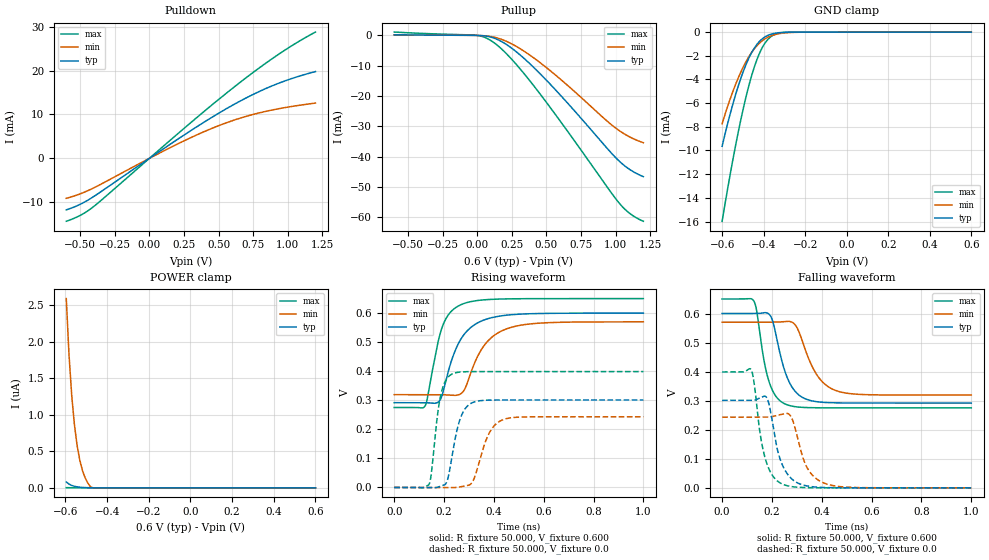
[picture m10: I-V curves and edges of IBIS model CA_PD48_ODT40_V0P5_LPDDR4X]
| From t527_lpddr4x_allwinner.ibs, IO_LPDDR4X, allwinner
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|   Model CA_PD48_ODT40_V0P5_LPDDR4X
[Model] CA_PD48_ODT40_V0P5_LPDDR4X
Model_type 3-state
Polarity   Non-Inverting
Enable   Active-Low
C_comp   1.436pF   1.391pF   1.494pF
C_comp_pulldown   0.755pF   0.726pF   0.791pF
[Temperature Range]   25.000   0.125k   -40.000
[Voltage Range]   0.600V   0.570V   0.650V
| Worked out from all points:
|   slope of the pulldown table from 0 to 0.09 V, typ, clamps not added: 46.6 ohm
|   slope of the pullup table from 0 to 0.09 V, typ, clamps not added: 198 ohm
|   GND clamp passes 1 mA (typ) near -0.43 V on its own axis
|   rising waveform, R_fixture 50.000, V_fixture 0.600: 20-80 % time 89ps typ, 98.6ps min, 61.9ps max; typ from 0.292 V to 0.6 V
|   rising waveform, R_fixture 50.000, V_fixture 0.0: 20-80 % time 44.2ps typ, 58.2ps min, 34ps max; typ from 0 V to 0.301 V
|   falling waveform, R_fixture 50.000, V_fixture 0.600: 20-80 % time 62.6ps typ, 81.3ps min, 50ps max; typ from 0.6 V to 0.292 V
|   falling waveform, R_fixture 50.000, V_fixture 0.0: 20-80 % time 53.5ps typ, 61ps min, 46.4ps max; typ from 0.301 V to 0 V
[Pulldown]
|Voltage   I(typ)   I(min)   I(max)
-600mV    -11.73mA   -9.096mA   -14.33mA
-486mV    -10.26mA   -7.919mA   -12.76mA
-391mV    -8.468mA   -6.555mA   -10.7mA
179mV     3.821mA    2.89mA     4.894mA
369mV     7.727mA    5.719mA    9.993mA
521mV     10.66mA    7.695mA    13.95mA
692mV     13.66mA    9.506mA    18.2mA
863mV     16.21mA    10.86mA    22.18mA
1.034V    18.24mA    11.86mA    25.76mA
1.2V      19.78mA    12.6mA     28.79mA
[Pullup]
|Voltage   I(typ)   I(min)   I(max)
-600mV    213.8uA    167.3uA    1.124mA
3mV       -3.94uA    -3.607uA   -19.46uA
60mV      -193.1uA   -141.5uA   -752.2uA
136mV     -1.136mA   -729.4uA   -2.911mA
193mV     -2.48mA    -1.6mA     -5.221mA
269mV     -4.918mA   -3.281mA   -8.89mA
440mV     -12mA      -8.5mA     -18.5mA
630mV     -21.19mA   -15.6mA    -30.21mA
934mV     -37.05mA   -28.12mA   -49.75mA
1.029V    -41.65mA   -31.53mA   -55.56mA
1.105V    -44.37mA   -33.6mA    -58.88mA
1.2V      -46.62mA   -35.42mA   -61.36mA
[GND_clamp]
|Voltage   I(typ)   I(min)   I(max)
-600mV    -9.644mA   -7.752mA   -15.98mA
-561mV    -6.898mA   -5.638mA   -12mA
-535mV    -5.279mA   -4.412mA   -9.563mA
-496mV    -3.229mA   -2.867mA   -6.297mA
-470mV    -2.153mA   -2.045mA   -4.442mA
-444mV    -1.329mA   -1.392mA   -2.9mA
-418mV    -752.5uA   -901.8uA   -1.711mA
-392mV    -391.1uA   -557uA     -889.9uA
-366mV    -189.2uA   -330uA     -401.7uA
-327mV    -58.41uA   -142.5uA   -97.15uA
-275mV    -11.42uA   -44.79uA   -11.99uA
600mV     -16.35nA   -581.7nA   -535.2pA
[POWER_clamp]
|Voltage   I(typ)   I(min)   I(max)
-596mV    80.24nA    2.593uA    2.718nA
-583mV    51.63nA    1.826uA    1.847nA
-570mV    33.07nA    1.268uA    1.343nA
-557mV    21.08nA    866.5nA    1.05nA
-544mV    13.38nA    579.1nA    877.6pA
-531mV    8.477nA    375.9nA    774.8pA
-518mV    5.384nA    233.6nA    709.6pA
-505mV    3.415nA    134.1nA    663.1pA
-492mV    2.097nA    63.17nA    625.9pA
-479mV    1.133nA    10.39nA    594.1pA
-466mV    364.7pA    0A         566pA
600mV     0A         0A         0A
[Ramp]
| variable   typ   min   max
dV/dt_r   0.181/44.360p   0.146/58.300p   0.239/34.200p
dV/dt_f   0.185/62.731p   0.150/81.427p   0.225/50.020p
R_load = 50.000
[Rising Waveform]
R_fixture= 50.000
V_fixture= 0.600
V_fixture_min= 0.570
V_fixture_max= 0.650
|time   V(typ)   V(min)   V(max)
0s        291.8mV    319.4mV    275.3mV
124ps     291.9mV    319.4mV    280.9mV
171ps     291.2mV    319.4mV    480.5mV
192ps     316.2mV    319.3mV    550.4mV
231ps     439.4mV    317.1mV    607.9mV
269ps     512.4mV    323.5mV    629.5mV
355ps     574.6mV    481.4mV    645.4mV
447ps     592.6mV    544.6mV    649mV
598ps     599mV      566.4mV    649.9mV
1ns       600mV      570mV      650mV
[Rising Waveform]
R_fixture= 50.000
V_fixture= 0.0
V_fixture_min= 0.0
V_fixture_max= 0.0
|time   V(typ)   V(min)   V(max)
0s        2.149uV    53.89uV    148.9nV
140ps     -196.3uV   60.68uV    10.83mV
186ps     4.797mV    229.8uV    314.5mV
212ps     21.46mV    -299.6uV   375.6mV
234ps     117.1mV    -491.2uV   391.2mV
291ps     277.7mV    6.551mV    398.5mV
320ps     294mV      29.29mV    398.8mV
384ps     300.7mV    191.3mV    398.9mV
438ps     301.1mV    233.7mV    398.9mV
1ns       301.2mV    243.2mV    398.9mV
[Falling Waveform]
R_fixture= 50.000
V_fixture= 0.600
V_fixture_min= 0.570
V_fixture_max= 0.650
|time   V(typ)   V(min)   V(max)
0s        600mV      570mV      650mV
128ps     600mV      570mV      642mV
186ps     599.4mV    569.9mV    371.9mV
204ps     571.1mV    570.4mV    332mV
254ps     396.2mV    572.9mV    288.2mV
293ps     332.2mV    561.5mV    279.4mV
318ps     313.5mV    514.9mV    277.2mV
379ps     296.6mV    390.5mV    275.6mV
450ps     292.7mV    337.1mV    275.3mV
1ns       291.8mV    319.4mV    275.3mV
[Falling Waveform]
R_fixture= 50.000
V_fixture= 0.0
V_fixture_min= 0.0
V_fixture_max= 0.0
|time   V(typ)   V(min)   V(max)
0s        301.2mV    243.2mV    398.9mV
116ps     301.3mV    243.2mV    407.7mV
171ps     315.5mV    243.3mV    107.6mV
187ps     292.3mV    243mV      66.68mV
220ps     138.7mV    248.6mV    24.79mV
241ps     80.45mV    253.1mV    13.19mV
282ps     28.64mV    235.3mV    3.855mV
346ps     5.64mV     62.08mV    565.1uV
412ps     1.056mV    15.32mV    78.11uV
1ns       2.154uV    53.95uV    151.4nV
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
